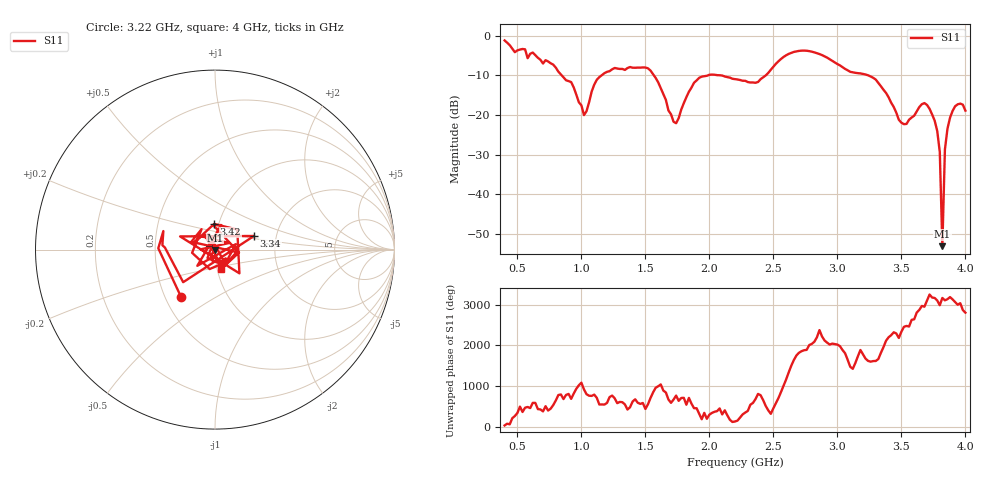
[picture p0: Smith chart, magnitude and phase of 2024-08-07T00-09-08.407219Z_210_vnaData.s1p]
!Created with skrf (http://scikit-rf.org).
# Hz S RI R 50.0
!freq ReS11 ImS11
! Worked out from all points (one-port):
!   181 points, 400 MHz to 4 GHz, reference 50 ohm
!   lowest |S11| = -53.1 dB at 3.82 GHz (marker M1), VSWR 1.00, Z = 50.1 - j0.207 ohm
!   |S11| at or under -10 dB: 1.566 GHz to 1.989 GHz (422.7 MHz wide, 23.8 % of centre); 2.086 GHz to 2.441 GHz (355.4 MHz wide, 15.7 % of centre); 3.239 GHz to end of sweep (the widest 3 of 4)
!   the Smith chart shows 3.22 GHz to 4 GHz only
!   S11 on the Smith chart (normalised r, x): 3.22 GHz: 0.60, -0.35; 3.34 GHz: 1.53, +0.25; 3.42 GHz: 0.95, +0.28; 4 GHz: 1.05, -0.23
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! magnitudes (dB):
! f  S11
! 400 MHz  -1.2
! 860 MHz  -10.5
! 920 MHz  -11.7
! 1.02 GHz  -20.0
! 1.12 GHz  -11.1
! 1.3 GHz  -8.4
! 1.52 GHz  -8.2
! 1.6 GHz  -11.8
! 1.72 GHz  -21.7
! 1.76 GHz  -20.8
! 1.92 GHz  -10.6
! 2.2 GHz  -11.0
! 2.38 GHz  -11.7
! 2.66 GHz  -4.1
! 3.1 GHz  -9.1
! 3.22 GHz  -9.8
! 3.34 GHz  -12.8
! 3.42 GHz  -16.9
! 3.5 GHz  -22.0
! 3.56 GHz  -21.2
! 3.68 GHz  -17.0
! 3.76 GHz  -21.4
! 3.8 GHz  -29.4
! 3.82 GHz  -53.1
! 3.84 GHz  -28.7
! 3.86 GHz  -23.5
! 3.92 GHz  -17.8
! 4 GHz  -18.9
